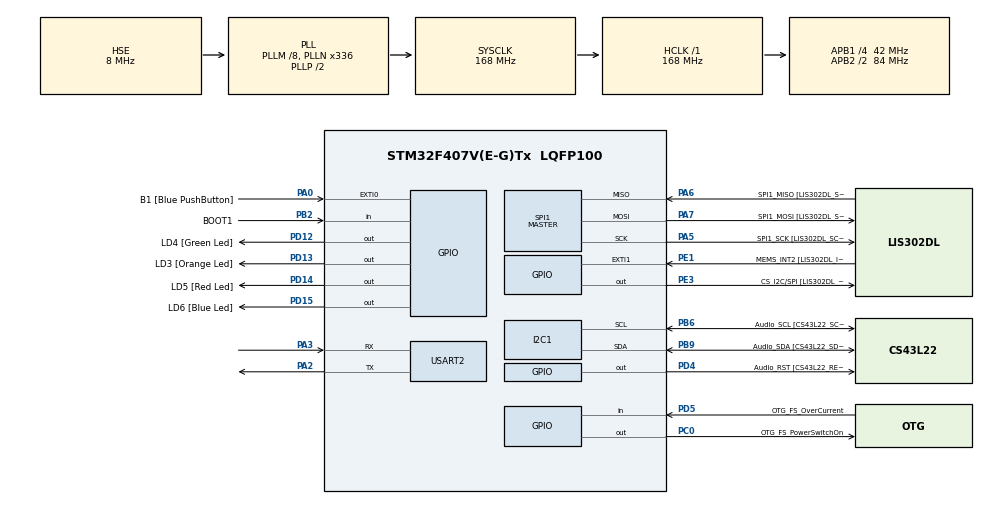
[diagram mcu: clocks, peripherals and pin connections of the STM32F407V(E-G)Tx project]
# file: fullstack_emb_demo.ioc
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Mcu.Family=STM32F4
Mcu.Name=STM32F407V(E-G)Tx
Mcu.Package=LQFP100
NVIC.PriorityGroup=NVIC_PRIORITYGROUP_0
PA0-WKUP.GPIO_Label=B1 [Blue PushButton]
PA0-WKUP.GPIO_ModeDefaultEXTI=GPIO_MODE_EVT_RISING
PA0-WKUP.GPIO_PuPd=GPIO_NOPULL
PA0-WKUP.Signal=GPXTI0
PA10.GPIO_Label=OTG_FS_ID
PA10.GPIO_Mode=GPIO_MODE_AF_PP
PA10.GPIO_PuPd=GPIO_NOPULL
PA10.GPIO_Speed=GPIO_SPEED_FREQ_LOW
PA10.Signal=USB_OTG_FS_ID
PA11.GPIO_Label=OTG_FS_DM
PA11.GPIO_Mode=GPIO_MODE_AF_PP
PA11.GPIO_PuPd=GPIO_NOPULL
PA11.GPIO_Speed=GPIO_SPEED_FREQ_LOW
PA11.Signal=USB_OTG_FS_DM
PA12.GPIO_Label=OTG_FS_DP
PA12.GPIO_Mode=GPIO_MODE_AF_PP
PA12.GPIO_PuPd=GPIO_NOPULL
PA12.GPIO_Speed=GPIO_SPEED_FREQ_LOW
PA12.Signal=USB_OTG_FS_DP
PA13.GPIO_Label=SWDIO
PA13.Mode=Serial_Wire
PA13.Signal=SYS_JTMS-SWDIO
PA14.GPIO_Label=SWCLK
PA14.Mode=Serial_Wire
PA14.Signal=SYS_JTCK-SWCLK
PA2.Mode=Asynchronous
PA2.Signal=USART2_TX
PA3.Mode=Asynchronous
PA3.Signal=USART2_RX
PA4.GPIO_Label=I2S3_WS [CS43L22_LRCK]
PA4.GPIO_Mode=GPIO_MODE_AF_PP
PA4.GPIO_PuPd=GPIO_NOPULL
PA4.GPIO_Speed=GPIO_SPEED_FREQ_LOW
PA4.Signal=I2S3_WS
PA5.GPIO_Label=SPI1_SCK [LIS302DL_SCL/SPC]
PA5.GPIO_Mode=GPIO_MODE_AF_PP
PA5.GPIO_PuPd=GPIO_NOPULL
PA5.GPIO_Speed=GPIO_SPEED_FREQ_LOW
PA5.Mode=Full_Duplex_Master
PA5.Signal=SPI1_SCK
PA6.GPIO_Label=SPI1_MISO [LIS302DL_SDO]
PA6.GPIO_Mode=GPIO_MODE_AF_PP
PA6.GPIO_PuPd=GPIO_NOPULL
PA6.GPIO_Speed=GPIO_SPEED_FREQ_LOW
PA6.Mode=Full_Duplex_Master
PA6.Signal=SPI1_MISO
PA7.GPIO_Label=SPI1_MOSI [LIS302DL_SDA/SDI/SDO]
PA7.GPIO_Mode=GPIO_MODE_AF_PP
PA7.GPIO_PuPd=GPIO_NOPULL
PA7.GPIO_Speed=GPIO_SPEED_FREQ_LOW
PA7.Mode=Full_Duplex_Master
PA7.Signal=SPI1_MOSI
PA9.GPIO_Label=VBUS_FS
PA9.GPIO_Mode=GPIO_MODE_INPUT
PA9.GPIO_PuPd=GPIO_NOPULL
PA9.Signal=USB_OTG_FS_VBUS
PB10.GPIO_Label=CLK_IN [MP45DT02_CLK]
PB10.GPIO_Mode=GPIO_MODE_AF_PP
PB10.GPIO_PuPd=GPIO_NOPULL
PB10.GPIO_Speed=GPIO_SPEED_FREQ_LOW
PB10.Signal=I2S2_CK
PB2.GPIO_Label=BOOT1
PB2.GPIO_Mode=GPIO_MODE_INPUT
PB2.GPIO_PuPd=GPIO_NOPULL
PB2.Signal=GPIO_Input
PB3.GPIO_Label=SWO
PB3.Signal=SYS_JTDO-SWO
PB6.GPIO_Label=Audio_SCL [CS43L22_SCL]
PB6.GPIO_Mode=GPIO_MODE_AF_OD
PB6.GPIO_Pu=GPIO_PULLUP
PB6.GPIO_PuPd=GPIO_NOPULL
PB6.GPIO_Speed=GPIO_SPEED_FREQ_LOW
PB6.Mode=I2C
PB6.Signal=I2C1_SCL
PB9.GPIO_Label=Audio_SDA [CS43L22_SDA]
PB9.GPIO_Mode=GPIO_MODE_AF_OD
PB9.GPIO_Pu=GPIO_PULLUP
PB9.GPIO_PuPd=GPIO_NOPULL
PB9.GPIO_Speed=GPIO_SPEED_FREQ_LOW
PB9.Mode=I2C
PB9.Signal=I2C1_SDA
PC0.GPIO_Label=OTG_FS_PowerSwitchOn
PC0.GPIO_PuPd=GPIO_NOPULL
PC0.GPIO_Speed=GPIO_SPEED_FREQ_LOW
PC0.PinState=GPIO_PIN_SET
PC0.Signal=GPIO_Output
PC10.GPIO_Label=I2S3_SCK [CS43L22_SCLK]
PC10.GPIO_Mode=GPIO_MODE_AF_PP
PC10.GPIO_PuPd=GPIO_NOPULL
PC10.GPIO_Speed=GPIO_SPEED_FREQ_LOW
PC10.Signal=I2S3_CK
PC12.GPIO_Label=I2S3_SD [CS43L22_SDIN]
PC12.GPIO_Mode=GPIO_MODE_AF_PP
PC12.GPIO_PuPd=GPIO_NOPULL
PC12.GPIO_Speed=GPIO_SPEED_FREQ_LOW
PC12.Signal=I2S3_SD
PC14-OSC32_IN.GPIO_Label=PC14-OSC32_IN
PC14-OSC32_IN.Mode=LSE-External-Oscillator
PC14-OSC32_IN.Signal=RCC_OSC32_IN
PC15-OSC32_OUT.GPIO_Label=PC15-OSC32_OUT
PC15-OSC32_OUT.Mode=LSE-External-Oscillator
PC15-OSC32_OUT.Signal=RCC_OSC32_OUT
PC3.GPIO_Label=PDM_OUT [MP45DT02_DOUT]
PC3.GPIO_Mode=GPIO_MODE_AF_PP
PC3.GPIO_PuPd=GPIO_NOPULL
PC3.GPIO_Speed=GPIO_SPEED_FREQ_LOW
PC3.Signal=I2S2_SD
PC7.GPIO_Label=I2S3_MCK [CS43L22_MCLK]
PC7.GPIO_Mode=GPIO_MODE_AF_PP
PC7.GPIO_PuPd=GPIO_NOPULL
PC7.GPIO_Speed=GPIO_SPEED_FREQ_LOW
PC7.Signal=I2S3_MCK
PD12.GPIO_Label=LD4 [Green Led]
PD12.GPIO_PuPd=GPIO_NOPULL
PD12.GPIO_Speed=GPIO_SPEED_FREQ_LOW
PD12.Signal=GPIO_Output
PD13.GPIO_Label=LD3 [Orange Led]
PD13.GPIO_PuPd=GPIO_NOPULL
PD13.GPIO_Speed=GPIO_SPEED_FREQ_LOW
PD13.Signal=GPIO_Output
PD14.GPIO_Label=LD5 [Red Led]
PD14.GPIO_PuPd=GPIO_NOPULL
PD14.GPIO_Speed=GPIO_SPEED_FREQ_LOW
PD14.Signal=GPIO_Output
PD15.GPIO_Label=LD6 [Blue Led]
PD15.GPIO_PuPd=GPIO_NOPULL
PD15.GPIO_Speed=GPIO_SPEED_FREQ_LOW
PD15.Signal=GPIO_Output
PD4.GPIO_Label=Audio_RST [CS43L22_RESET]
PD4.GPIO_PuPd=GPIO_NOPULL
PD4.GPIO_Speed=GPIO_SPEED_FREQ_LOW
PD4.Signal=GPIO_Output
PD5.GPIO_Label=OTG_FS_OverCurrent
PD5.GPIO_Mode=GPIO_MODE_INPUT
PD5.GPIO_PuPd=GPIO_NOPULL
PD5.Signal=GPIO_Input
PE1.GPIO_Label=MEMS_INT2 [LIS302DL_INT2]
PE1.GPIO_ModeDefaultEXTI=GPIO_MODE_EVT_RISING
PE1.GPIO_PuPd=GPIO_NOPULL
PE1.Signal=GPXTI1
PE3.GPIO_Label=CS_I2C/SPI [LIS302DL_CS_I2C/SPI]
PE3.GPIO_PuPd=GPIO_NOPULL
PE3.GPIO_Speed=GPIO_SPEED_FREQ_LOW
PE3.Signal=GPIO_Output
PH0-OSC_IN.GPIO_Label=PH0-OSC_IN
PH0-OSC_IN.Mode=HSE-External-Oscillator
PH0-OSC_IN.Signal=RCC_OSC_IN
PH1-OSC_OUT.GPIO_Label=PH1-OSC_OUT
PH1-OSC_OUT.Mode=HSE-External-Oscillator
PH1-OSC_OUT.Signal=RCC_OSC_OUT
ProjectManager.HeapSize=0x200
ProjectManager.StackSize=0x400
ProjectManager.TargetToolchain=STM32CubeIDE
RCC.48MHZClocksFreq_Value=48000000
RCC.AHBFreq_Value=168000000
RCC.APB1CLKDivider=RCC_HCLK_DIV4
RCC.APB1Freq_Value=42000000
RCC.APB1TimFreq_Value=84000000
RCC.APB2CLKDivider=RCC_HCLK_DIV2
RCC.APB2Freq_Value=84000000
RCC.APB2TimFreq_Value=168000000
RCC.CortexFreq_Value=168000000
RCC.HCLKFreq_Value=168000000
RCC.HSE_VALUE=8000000
RCC.HSI_VALUE=16000000
RCC.PLLM=8
RCC.PLLN=336
RCC.PLLQ=7
RCC.PLLSourceVirtual=RCC_PLLSOURCE_HSE
RCC.SYSCLKFreq_VALUE=168000000
RCC.SYSCLKSource=RCC_SYSCLKSOURCE_PLLCLK
RCC.VCOOutputFreq_Value=336000000
SPI1.BaudRatePrescaler-Full_Duplex_Master=SPI_BAUDRATEPRESCALER_2
SPI1.CalculateBaudRate-Full_Duplex_Master=42.0 MBits/s
SPI1.Direction=SPI_DIRECTION_2LINES
SPI1.Mode=SPI_MODE_MASTER
SPI1.Mode-Full_Duplex_Master=SPI_MODE_MASTER
SPI1.VirtualType=VM_MASTER
USART2.VirtualMode=VM_ASYNC
board=STM32F407G-DISC1

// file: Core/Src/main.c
/* USER CODE BEGIN Header */
/**
  ******************************************************************************
  * @file           : main.c
  * @brief          : Main program body
  ******************************************************************************
  * @attention
  *
  * Copyright (c) 2024 STMicroelectronics.
  * All rights reserved.
  *
  * This software is licensed under terms that can be found in the LICENSE file
  * in the root directory of this software component.
  * If no LICENSE file comes with this software, it is provided AS-IS.
  *
  ******************************************************************************
  */
/* USER CODE END Header */
#include "main.h"
#include "i2c.h"
#include "spi.h"
#include "usart.h"
#include "gpio.h"

/* USER CODE BEGIN Includes */
#include <string.h>
#include <stdio.h>
#include "main.h"
/* USER CODE END Includes */

/* USER CODE BEGIN PD */
#define MAX_SENSORS 4

/* USER CODE END PD */

/* USER CODE BEGIN PV */
uint8_t sensorAddresses[MAX_SENSORS];
uint8_t numSensors = 0;
float temperatures[MAX_SENSORS];      // To store temperature readings
/* USER CODE END PV */

void SystemClock_Config(void);
/* USER CODE BEGIN PFP */
float readLM75Temperature(I2C_HandleTypeDef *hi2c, uint8_t sensorAddresses);
void scanI2CDevices(I2C_HandleTypeDef *hi2c, UART_HandleTypeDef *huart);
void updateTemperatures(I2C_HandleTypeDef *hi2c);
void sendAllTemperaturesOverUART(UART_HandleTypeDef *huart, float *temperatures);
void createTemperatureJSON(char* jsonOutput, size_t jsonSize, uint8_t *sensorAddresses, float *temperatures, uint8_t numSensors);
/* USER CODE END PFP */

int main(void)
{

  /* MCU Configuration--------------------------------------------------------*/

  /* Reset of all peripherals, Initializes the Flash interface and the Systick. */
  HAL_Init();

  /* Configure the system clock */
  SystemClock_Config();

  /* Initialize all configured peripherals */
  MX_GPIO_Init();
  MX_I2C1_Init();
  MX_SPI1_Init();
  MX_USART2_UART_Init();
  /* USER CODE BEGIN 2 */

  scanI2CDevices(&hi2c1, &huart2); // Scan once for devices at the start

  /* USER CODE END 2 */

  /* Infinite loop */
  while (1)
  {
	    updateTemperatures(&hi2c1); // Update temperature readings from sensors

	    char jsonOutput[512]; // Allocate a buffer for the JSON output
	    createTemperatureJSON(jsonOutput, sizeof(jsonOutput), sensorAddresses, temperatures, numSensors); // Generate JSON string

	    HAL_UART_Transmit(&huart2, (uint8_t*)jsonOutput, strlen(jsonOutput), HAL_MAX_DELAY); // Transmit JSON string over UART

	    HAL_Delay(1000); // Delay between readings, adjust as needed
  }
}

void SystemClock_Config(void)
{
  RCC_OscInitTypeDef RCC_OscInitStruct = {0};
  RCC_ClkInitTypeDef RCC_ClkInitStruct = {0};

  /** Configure the main internal regulator output voltage
  */
  __HAL_RCC_PWR_CLK_ENABLE();
  __HAL_PWR_VOLTAGESCALING_CONFIG(PWR_REGULATOR_VOLTAGE_SCALE1);

  /** Initializes the RCC Oscillators according to the specified parameters
  * in the RCC_OscInitTypeDef structure.
  */
  RCC_OscInitStruct.OscillatorType = RCC_OSCILLATORTYPE_HSE;
  RCC_OscInitStruct.HSEState = RCC_HSE_ON;
  RCC_OscInitStruct.PLL.PLLState = RCC_PLL_ON;
  RCC_OscInitStruct.PLL.PLLSource = RCC_PLLSOURCE_HSE;
  RCC_OscInitStruct.PLL.PLLM = 8;
  RCC_OscInitStruct.PLL.PLLN = 336;
  RCC_OscInitStruct.PLL.PLLP = RCC_PLLP_DIV2;
  RCC_OscInitStruct.PLL.PLLQ = 7;
  if (HAL_RCC_OscConfig(&RCC_OscInitStruct) != HAL_OK)
  {
    Error_Handler();
  }

  /** Initializes the CPU, AHB and APB buses clocks
  */
  RCC_ClkInitStruct.ClockType = RCC_CLOCKTYPE_HCLK|RCC_CLOCKTYPE_SYSCLK
                              |RCC_CLOCKTYPE_PCLK1|RCC_CLOCKTYPE_PCLK2;
  RCC_ClkInitStruct.SYSCLKSource = RCC_SYSCLKSOURCE_PLLCLK;
  RCC_ClkInitStruct.AHBCLKDivider = RCC_SYSCLK_DIV1;
  RCC_ClkInitStruct.APB1CLKDivider = RCC_HCLK_DIV4;
  RCC_ClkInitStruct.APB2CLKDivider = RCC_HCLK_DIV2;

  if (HAL_RCC_ClockConfig(&RCC_ClkInitStruct, FLASH_LATENCY_5) != HAL_OK)
  {
    Error_Handler();
  }
}

/* USER CODE BEGIN 4 */

void scanI2CDevices(I2C_HandleTypeDef *hi2c, UART_HandleTypeDef *huart) {
    char buffer[64];
    numSensors = 0; // Ensure numSensors is reset here if scanI2CDevices can be called multiple times
    for (uint8_t i = 0x48; i <= 0x4F; i++) {
        if (HAL_I2C_IsDeviceReady(hi2c, (i << 1), 3, 100) == HAL_OK && numSensors < MAX_SENSORS) {
            sensorAddresses[numSensors++] = i;
            sprintf(buffer, "Sensor found at address: 0x%X\r\n", i);
            HAL_UART_Transmit(huart, (uint8_t*)buffer, strlen(buffer), HAL_MAX_DELAY);
        }
    }
    // Initialize temperatures to 0.0
    for (int i = 0; i < MAX_SENSORS; i++) {
        temperatures[i] = 0.0;
    }
}

float readLM75Temperature(I2C_HandleTypeDef *hi2c, uint8_t sensorAddress) {
    uint8_t tempReg[2]; // Array to store the two temperature bytes
    float temperature = 0.0f; // Variable to store the final temperature

    if (HAL_I2C_Master_Receive(hi2c, (sensorAddress << 1), tempReg, 2, HAL_MAX_DELAY) == HAL_OK) {
        int16_t temp = (int16_t)(tempReg[0] << 8 | tempReg[1]) >> 5;
        temperature = temp * 0.125; // Corrected line
    }

    return temperature;
}

/* Function to read temperatures from all sensors and update the temperatures array */
void updateTemperatures(I2C_HandleTypeDef *hi2c) {
    for (int i = 0; i < MAX_SENSORS ; i++) {
        temperatures[i] = readLM75Temperature(hi2c, sensorAddresses[i]);
    }
}

/* Function to send consolidated temperature readings over UART */
void sendAllTemperaturesOverUART(UART_HandleTypeDef *huart, float *temperatures) {

	char tempString[32];
	for (int i = 0; i < numSensors ; i++) {
	    snprintf(tempString, sizeof(tempString), "Temperature: %.2f°C\r\n", temperatures[i]);
	    HAL_UART_Transmit(huart, (uint8_t*)tempString, strlen(tempString), HAL_MAX_DELAY);
}
}

void createTemperatureJSON(char* jsonOutput, size_t jsonSize, uint8_t *sensorAddresses, float *temperatures, uint8_t numSensors) {
    char buffer[256]; // Temporary buffer for individual JSON objects
    size_t usedSize = 0; // Track the used size to avoid buffer overflow

    // Start the JSON array
    usedSize += snprintf(jsonOutput + usedSize, jsonSize - usedSize, "[");

    for (int i = 0; i < numSensors; ++i) {
        // Format the current sensor's data into a JSON object
        int len = snprintf(buffer, sizeof(buffer), "{\"address\":\"0x%X\",\"temperature\":%.2f}", sensorAddresses[i], temperatures[i]);

        // Check if there's enough space left in the output buffer
        if (usedSize + len < jsonSize - 1) { // Leave space for null-terminator and potential comma
            // Append this sensor's JSON object to the output
            strncpy(jsonOutput + usedSize, buffer, len);
            usedSize += len;
            // Add a comma if this is not the last sensor
            if (i < numSensors - 1) {
                jsonOutput[usedSize++] = ',';
            }
        } else {
            // Not enough space to add more data
            break;
        }
    }

    // Close the JSON array
    if (usedSize < jsonSize - 1) {
        jsonOutput[usedSize++] = ']';
    } else {
        // Ensure the string is properly closed in case of overflow
        jsonOutput[jsonSize - 1] = ']';
        usedSize = jsonSize; // Adjust usedSize to reflect the forced closure
    }
    jsonOutput[usedSize] = '\0'; // Ensure null-termination
}

/* USER CODE END 4 */

void Error_Handler(void)
{
  __disable_irq();
  while (1)
  {
  }
}
